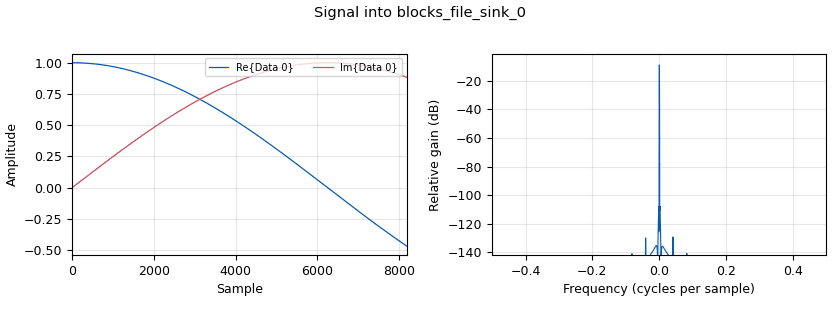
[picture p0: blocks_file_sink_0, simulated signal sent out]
<?xml version='1.0' encoding='utf-8'?>
<?grc format='1' created='3.7.10'?>
<flow_graph>
<block>
<key>options</key>
<param><key>id</key><value>top_block</value></param>
<param><key>generate_options</key><value>qt_gui</value></param>
</block>
<block>
<key>variable</key>
<param><key>id</key><value>samp_rate</value></param>
<param><key>value</key><value>2.5e6</value></param>
</block>
<block>
<key>rtlsdr_source</key>
<param><key>id</key><value>Airspy</value></param>
<param><key>bb_gain0</key><value>1</value></param>
<param><key>dc_offset_mode0</key><value>2</value></param>
<param><key>freq0</key><value>167.375e6</value></param>
<param><key>gain_mode0</key><value>False</value></param>
<param><key>if_gain0</key><value>1</value></param>
<param><key>gain0</key><value>1</value></param>
<param><key>args</key><value></value></param>
<param><key>_enabled</key><value>0</value></param>
<param><key>num_mboards</key><value>2</value></param>
<param><key>type</key><value>fc32</value></param>
<param><key>sample_rate</key><value>samp_rate</value></param>
<param><key>sync</key><value></value></param>
</block>
<block>
<key>analog_sig_source_x</key>
<param><key>id</key><value>analog_sig_source_x_0</value></param>
<param><key>amp</key><value>1</value></param>
<param><key>freq</key><value>100</value></param>
<param><key>offset</key><value>0</value></param>
<param><key>type</key><value>complex</value></param>
<param><key>samp_rate</key><value>samp_rate</value></param>
<param><key>waveform</key><value>analog.GR_SIN_WAVE</value></param>
</block>
<block>
<key>blocks_file_sink</key>
<param><key>id</key><value>blocks_file_sink_0</value></param>
<param><key>file</key><value>/home/adam/Dropbox/Skola/Examensarbete/Git/timedomaindata.txt</value></param>
<param><key>type</key><value>complex</value></param>
</block>
<block>
<key>blocks_head</key>
<param><key>id</key><value>blocks_head_0</value></param>
<param><key>num_items</key><value>8192</value></param>
<param><key>type</key><value>complex</value></param>
</block>
<block>
<key>blocks_throttle</key>
<param><key>id</key><value>blocks_throttle_0</value></param>
<param><key>samples_per_second</key><value>samp_rate/1000</value></param>
<param><key>type</key><value>complex</value></param>
</block>
<block>
<key>qtgui_time_sink_x</key>
<param><key>id</key><value>qtgui_time_sink_x_0</value></param>
<param><key>autoscale</key><value>True</value></param>
<param><key>_enabled</key><value>0</value></param>
<param><key>color1</key><value>"blue"</value></param>
<param><key>label1</key><value></value></param>
<param><key>color2</key><value>"red"</value></param>
<param><key>label2</key><value></value></param>
<param><key>size</key><value>8192</value></param>
<param><key>srate</key><value>samp_rate</value></param>
<param><key>type</key><value>complex</value></param>
</block>
<connection><source_block_id>analog_sig_source_x_0</source_block_id><sink_block_id>blocks_throttle_0</sink_block_id><source_key>0</source_key><sink_key>0</sink_key></connection>
<connection><source_block_id>blocks_head_0</source_block_id><sink_block_id>blocks_file_sink_0</sink_block_id><source_key>0</source_key><sink_key>0</sink_key></connection>
<connection><source_block_id>blocks_head_0</source_block_id><sink_block_id>qtgui_time_sink_x_0</sink_block_id><source_key>0</source_key><sink_key>0</sink_key></connection>
<connection><source_block_id>blocks_throttle_0</source_block_id><sink_block_id>blocks_head_0</sink_block_id><source_key>0</source_key><sink_key>0</sink_key></connection>
</flow_graph>
